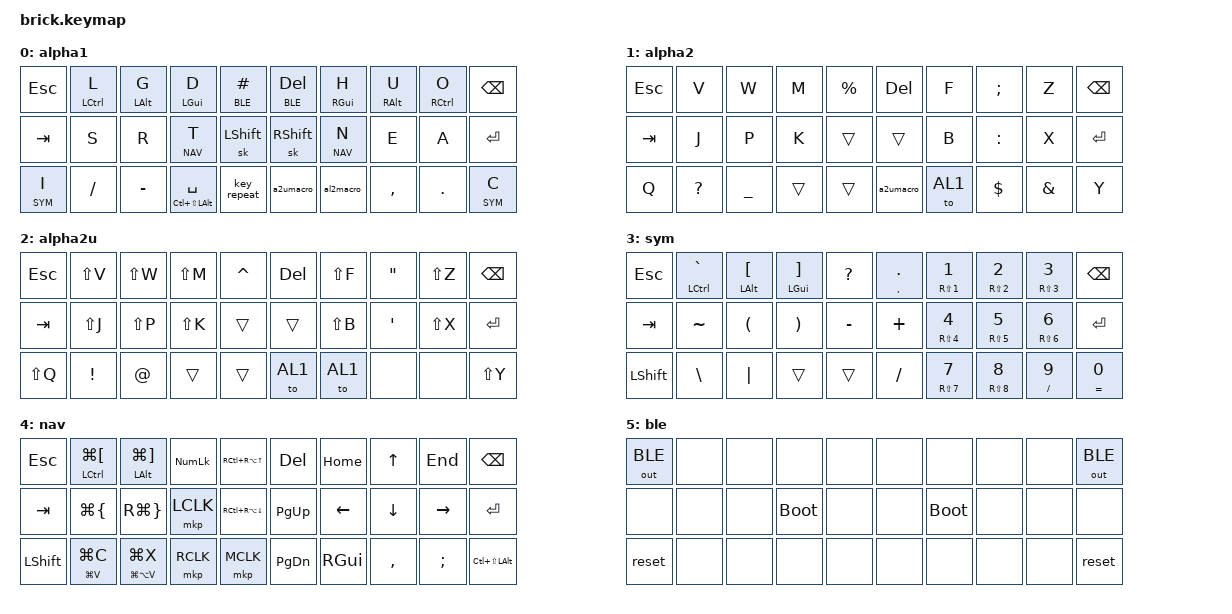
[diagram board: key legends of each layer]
#include <behaviors.dtsi>
#include <dt-bindings/zmk/keys.h>
#include <dt-bindings/zmk/bt.h>
#include <dt-bindings/zmk/outputs.h>
#include <dt-bindings/zmk/mouse.h>

&mt {
    tapping-term-ms = <250>;
    flavor = "tap-preferred";
};
&sk {
     release-after-ms = <2000>;
     quick-release;
};
&caps_word {
    continue-list = <UNDERSCORE BACKSPACE DELETE MINUS>;
};

/* Layers */
#define AL1 0
#define AL2 1
#define A2U 2
#define SYM 3
#define NAV 4
#define BLE 5
/ { 
    combos {
        compatible = "zmk,combos";
        combo_caps {
            timeout-ms = <175>;
            key-positions = <14 15>;
            bindings = <&caps_word>;
        };
        combo_NAV  {
            timeout-ms = <175>;
            key-positions = <1 2 3>;
            bindings = <&tog NAV>;
            layers = <AL1 NAV>;
        };
    };

    behaviors {
        m_l: mods_left {
            compatible = "zmk,behavior-hold-tap";
            label = "MODS_L";
            #binding-cells = <2>;
            tapping-term-ms = <300>;
            quick-tap-ms = <250>;
            flavor = "tap-preferred";
            bindings = <&kp>, <&kp>;
        };
        m_r: mods_right {
            compatible = "zmk,behavior-hold-tap";
            label = "MODS_R";
            #binding-cells = <2>;
            tapping-term-ms = <300>;
            quick-tap-ms = <250>;
            flavor = "tap-preferred";
            bindings = <&kp>, <&kp>;
        };
        l_l: layers_left {
            compatible = "zmk,behavior-hold-tap";
            label = "LAYERS_L";
            #binding-cells = <2>;
            tapping-term-ms = <220>;
            quick-tap-ms = <250>;
            flavor = "tap-preferred";
            bindings = <&mo>, <&kp>;
        };
        l_r: layers_right {
            compatible = "zmk,behavior-hold-tap";
            label = "LAYERS_R";
            #binding-cells = <2>;
            tapping-term-ms = <220>;
            quick-tap-ms = <250>;
            flavor = "tap-preferred";
            bindings = <&mo>, <&kp>;
        };
        skq: sticky_key_quick_release {
            compatible = "zmk,behavior-sticky-key";
            label = "STICKY_KEY_QUICK_RELEASE";
            #binding-cells = <1>;
            bindings = <&kp>;
            release-after-ms = <2000>;
            quick-release;
        };
        td: tapdance {
            compatible = "zmk,behavior-hold-tap";
            label = "TAPDANCE";
            #binding-cells = <2>;
            tapping-term-ms = <190>;
            quick-tap-ms = <250>;
            flavor = "tap-preferred";
            bindings = <&kp>, <&kp>;
        };
        al2macro: behavior_macro_1 {
			compatible = "zmk,behavior-macro";
			label = "MACRO1";
			#binding-cells = <0>;
			bindings = < &sl AL2 >;
		};
		a2umacro: behavior_macro_2 {
			compatible = "zmk,behavior-macro";
			label = "MACRO2";
			#binding-cells = <0>;
			bindings = < &sl A2U >;
        };
    };

    //      00  01  02  03  04      05  06  07  08  09
    //      10  11  12  13  14      15  16  17  18  19
    //      20  21  22  23  24      25  26  27  28  29

    keymap {
        compatible = "zmk,keymap";

        alpha1 {
            bindings = <
            &kp ESC     &m_l LCTL L  &m_l LALT G  &m_l LGUI D           &l_l BLE HASH  /**/  &l_r BLE DEL  &m_r RGUI H  &m_r RALT U  &m_r RCTL O  &kp BSPC
            &kp TAB     &kp S        &kp R        &l_l NAV T            &sk LSHFT      /**/  &sk RSHFT     &l_r NAV N   &kp E        &kp A        &kp RET
            &l_l SYM I  &kp FSLH     &kp MINUS    &mt LC(LS(LALT)) SPC  &key_repeat    /**/  &a2umacro     &al2macro    &kp COMMA    &kp DOT      &l_r SYM C
            >;
        };

        alpha2 {
            bindings = <
            &kp ESC  &kp V      &kp W      &kp M   &kp PRCNT  /**/  &kp DEL    &kp F    &kp SEMI   &kp Z     &kp BSPC
            &kp TAB  &kp J      &kp P      &kp K   &trans     /**/  &trans     &kp B    &kp COLON  &kp X     &kp RET
            &kp Q    &kp QMARK  &kp UNDER  &trans  &trans     /**/  &a2umacro  &to AL1  &kp DLLR   &kp AMPS  &kp Y
            >;
        };

        alpha2u {
            bindings = <
            &kp ESC    &kp LS(V)  &kp LS(W)  &kp LS(M)  &kp CARET  /**/  &kp DEL  &kp LS(F)  &kp DQT  &kp LS(Z)  &kp BSPC
            &kp TAB    &kp LS(J)  &kp LS(P)  &kp LS(K)  &trans     /**/  &trans   &kp LS(B)  &kp SQT  &kp LS(X)  &kp RET
            &kp LS(Q)  &kp EXCL   &kp AT     &trans     &trans     /**/  &to AL1  &to AL1    &none    &none      &kp LS(Y)
            >;
        };

        sym {
            bindings = <
            &kp ESC    &m_l LCTL GRAVE  &m_l LALT LBKT  &m_l LGUI RBKT  &kp QMARK  /**/  &td COMMA DOT  &td RS(N1) N1  &td RS(N2) N2  &td RS(N3) N3  &kp BSPC
            &kp TAB    &kp TILDE        &kp LPAR        &kp RPAR        &kp MINUS  /**/  &kp PLUS       &td RS(N4) N4  &td RS(N5) N5  &td RS(N6) N6  &kp RET
            &kp LSHFT  &kp BSLH         &kp PIPE        &trans          &trans     /**/  &kp FSLH       &td RS(N7) N7  &td RS(N8) N8  &td FSLH N9    &td EQUAL N0
            >;
        };

        nav {
            bindings = <
            &kp ESC    &m_l LCTL LG(LBKT)  &m_l LALT LG(RBKT)   &kp KP_NUM  &kp RC(RA(UP))    /**/  &kp DEL    &kp HOME  &kp UP     &kp END    &kp BSPC
            &kp TAB    &kp LG(LBRC)        &kp RG(RBRC)         &mkp LCLK   &kp RC(RA(DOWN))  /**/  &kp PG_UP  &kp LEFT  &kp DOWN   &kp RIGHT  &kp RET
            &kp LSHFT  &td LG(V) LG(C)     &td LG(LA(V)) LG(X)  &mkp RCLK   &mkp MCLK         /**/  &kp PG_DN  &kp RGUI  &kp COMMA  &kp SEMI   &kp LC(LS(LALT))
            >;
        };

        ble {
            bindings = <
            &out OUT_BLE  &none  &none  &none        &none  /**/  &none  &none        &none  &none  &out OUT_BLE
            &none         &none  &none  &bootloader  &none  /**/  &none  &bootloader  &none  &none  &none
            &reset        &none  &none  &none        &none  /**/  &none  &none        &none  &none  &reset
            >;
        };

    };
};
